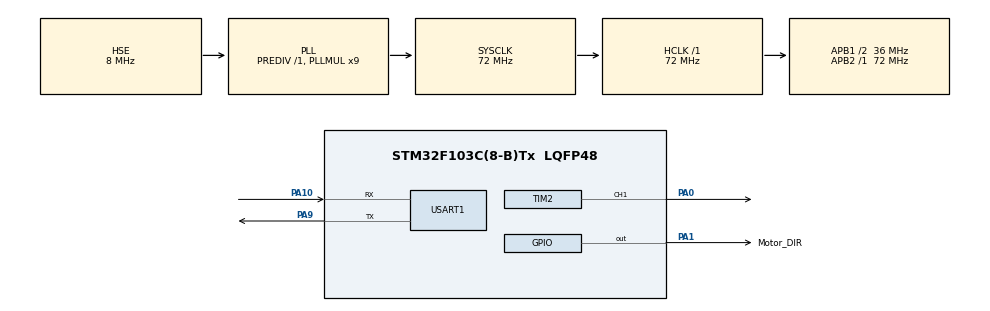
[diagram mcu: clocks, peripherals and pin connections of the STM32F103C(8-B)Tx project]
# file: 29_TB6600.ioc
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Mcu.Family=STM32F1
Mcu.Name=STM32F103C(8-B)Tx
Mcu.Package=LQFP48
NVIC.PriorityGroup=NVIC_PRIORITYGROUP_4
NVIC.USART1_IRQn=true\:0\:0\:false\:false\:true\:true\:true
PA0-WKUP.Signal=S_TIM2_CH1_ETR
PA1.GPIO_Label=Motor_DIR
PA1.PinState=GPIO_PIN_SET
PA1.Signal=GPIO_Output
PA10.Mode=Asynchronous
PA10.Signal=USART1_RX
PA13.Mode=Serial_Wire
PA13.Signal=SYS_JTMS-SWDIO
PA14.Mode=Serial_Wire
PA14.Signal=SYS_JTCK-SWCLK
PA9.Mode=Asynchronous
PA9.Signal=USART1_TX
PD0-OSC_IN.Mode=HSE-External-Oscillator
PD0-OSC_IN.Signal=RCC_OSC_IN
PD1-OSC_OUT.Mode=HSE-External-Oscillator
PD1-OSC_OUT.Signal=RCC_OSC_OUT
ProjectManager.HeapSize=0x200
ProjectManager.StackSize=0x400
ProjectManager.TargetToolchain=MDK-ARM V5.32
RCC.AHBFreq_Value=72000000
RCC.APB1CLKDivider=RCC_HCLK_DIV2
RCC.APB1Freq_Value=36000000
RCC.APB1TimFreq_Value=72000000
RCC.APB2Freq_Value=72000000
RCC.APB2TimFreq_Value=72000000
RCC.HCLKFreq_Value=72000000
RCC.PLLMUL=RCC_PLL_MUL9
RCC.PLLSourceVirtual=RCC_PLLSOURCE_HSE
RCC.SYSCLKFreq_VALUE=72000000
RCC.SYSCLKSource=RCC_SYSCLKSOURCE_PLLCLK
RCC.USBFreq_Value=72000000
SH.S_TIM2_CH1_ETR.0=TIM2_CH1,PWM Generation1 CH1
TIM2.AutoReloadPreload=TIM_AUTORELOAD_PRELOAD_ENABLE
TIM2.Channel-PWM\ Generation1\ CH1=TIM_CHANNEL_1
TIM2.Period=999
TIM2.Prescaler=71
TIM2.Pulse-PWM\ Generation1\ CH1=500
USART1.VirtualMode=VM_ASYNC
VP_TIM2_VS_ClockSourceINT.Mode=Internal
board=custom

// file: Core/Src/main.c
/* USER CODE BEGIN Header */
/**
  ******************************************************************************
  * @file           : main.c
  * @brief          : Main program body
  ******************************************************************************
  * @attention
  *
  * Copyright (c) 2023 STMicroelectronics.
  * All rights reserved.
  *
  * This software is licensed under terms that can be found in the LICENSE file
  * in the root directory of this software component.
  * If no LICENSE file comes with this software, it is provided AS-IS.
  *
  ******************************************************************************
  */
/* USER CODE END Header */
#include "main.h"
#include "tim.h"
#include "usart.h"
#include "gpio.h"

/* USER CODE BEGIN Includes */
struct motor_device
{
  int cnt;
  GPIO_PinState dir;
  /* data */
};
static struct motor_device *motor_device;

/* USER CODE END Includes */

void SystemClock_Config(void);

/* USER CODE BEGIN 0 */
/**
  * @brief  定时器中断服务函数
  * @note
  * @param  	htim
  *           @arg htimx:htim1 or .....
  * @retval 	NONE
  */
void HAL_TIM_PWM_PulseFinishedCallback(TIM_HandleTypeDef *htim)
{
	if(htim == &htim2)
	{

		// 判断当前方向，设置引脚电平
    if (motor_device->dir == GPIO_PIN_RESET) {
        HAL_GPIO_WritePin(Motor_DIR_GPIO_Port, Motor_DIR_Pin, GPIO_PIN_SET);
    } else {
        HAL_GPIO_WritePin(Motor_DIR_GPIO_Port, Motor_DIR_Pin, GPIO_PIN_RESET);
    }

		motor_device->cnt--;
		if(motor_device->cnt == 0)
		{
			HAL_TIM_PWM_Stop_IT(&htim2,TIM_CHANNEL_1);
		}
	}
}

/**
  * @brief  控制步进电机函数
  * @note
  * @param 	struct motor_device: 电机设备信息结构体
	*	@param		pulse_count:		输出脉冲数
  * @param  	direction:     电机转动方向
  *            				@arg GPIO_PIN_RESET: to clear the port pin
  *           				@arg GPIO_PIN_SET: to set the port pin
  * @retval 	None
  */
void control_stepper_motor(struct motor_device *motor, int pulse_count, GPIO_PinState direction) {
    // 初始化步进电机设备信息
    motor_device->cnt = pulse_count;
    motor_device->dir = direction;

    // 启动定时器中断，并开始计数
    HAL_TIM_Base_Start_IT(&htim2);
}

/* USER CODE END 0 */

int main(void)
{

  /* MCU Configuration--------------------------------------------------------*/

  /* Reset of all peripherals, Initializes the Flash interface and the Systick. */
  HAL_Init();

  /* USER CODE BEGIN Init */
	control_stepper_motor(motor_device,100,GPIO_PIN_RESET);
  /* USER CODE END Init */

  /* Configure the system clock */
  SystemClock_Config();

  /* Initialize all configured peripherals */
  MX_GPIO_Init();
  MX_TIM2_Init();
  MX_USART1_UART_Init();

  /* Infinite loop */
  while (1)
  {

  }
}

void SystemClock_Config(void)
{
  RCC_OscInitTypeDef RCC_OscInitStruct = {0};
  RCC_ClkInitTypeDef RCC_ClkInitStruct = {0};

  /** Initializes the RCC Oscillators according to the specified parameters
  * in the RCC_OscInitTypeDef structure.
  */
  RCC_OscInitStruct.OscillatorType = RCC_OSCILLATORTYPE_HSE;
  RCC_OscInitStruct.HSEState = RCC_HSE_ON;
  RCC_OscInitStruct.HSEPredivValue = RCC_HSE_PREDIV_DIV1;
  RCC_OscInitStruct.HSIState = RCC_HSI_ON;
  RCC_OscInitStruct.PLL.PLLState = RCC_PLL_ON;
  RCC_OscInitStruct.PLL.PLLSource = RCC_PLLSOURCE_HSE;
  RCC_OscInitStruct.PLL.PLLMUL = RCC_PLL_MUL9;
  if (HAL_RCC_OscConfig(&RCC_OscInitStruct) != HAL_OK)
  {
    Error_Handler();
  }
  /** Initializes the CPU, AHB and APB buses clocks
  */
  RCC_ClkInitStruct.ClockType = RCC_CLOCKTYPE_HCLK|RCC_CLOCKTYPE_SYSCLK
                              |RCC_CLOCKTYPE_PCLK1|RCC_CLOCKTYPE_PCLK2;
  RCC_ClkInitStruct.SYSCLKSource = RCC_SYSCLKSOURCE_PLLCLK;
  RCC_ClkInitStruct.AHBCLKDivider = RCC_SYSCLK_DIV1;
  RCC_ClkInitStruct.APB1CLKDivider = RCC_HCLK_DIV2;
  RCC_ClkInitStruct.APB2CLKDivider = RCC_HCLK_DIV1;

  if (HAL_RCC_ClockConfig(&RCC_ClkInitStruct, FLASH_LATENCY_2) != HAL_OK)
  {
    Error_Handler();
  }
}

void Error_Handler(void)
{
  __disable_irq();
  while (1)
  {
  }
}
